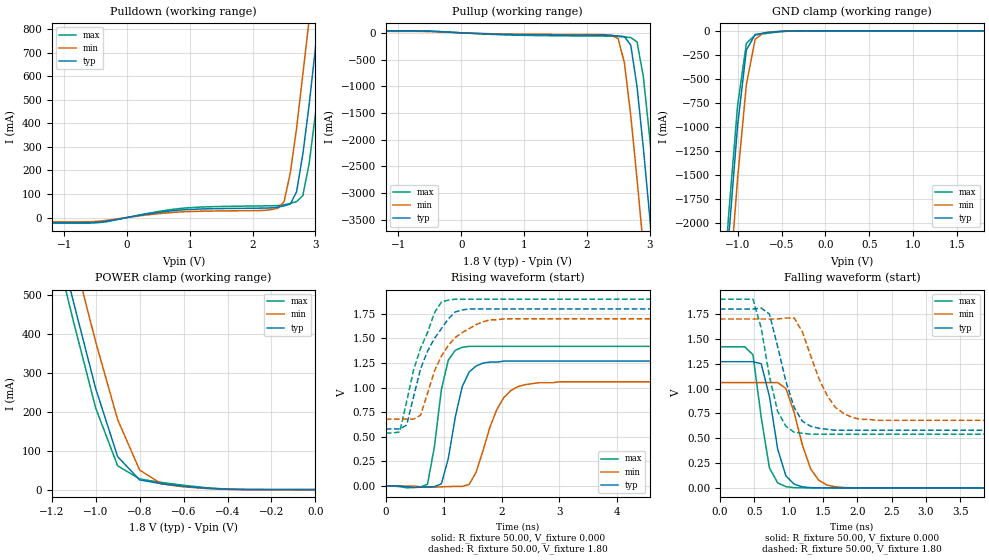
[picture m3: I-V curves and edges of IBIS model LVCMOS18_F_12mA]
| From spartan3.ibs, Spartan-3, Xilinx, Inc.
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|   Model LVCMOS18_F_12mA
[Model]   LVCMOS18_F_12mA
Model_type   I/O
Polarity   Non-Inverting
Enable   Active-Low
Vinl =   0.54V
Vinh =   1.26V
Vmeas =   0.90V
Cref =  0.000F
Rref =   1.00M
Vref =  0.000V
C_comp   6.38pF   4.60pF   8.23pF
[Temperature Range]   25.00   85.00   0.000
[Voltage Range]   1.80V   1.70V   1.90V
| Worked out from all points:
|   slope of the pulldown table from 0 to 0.27 V, typ, clamps not added: 21.7 ohm
|   slope of the pullup table from 0 to 0.27 V, typ, clamps not added: 18.9 ohm
|   GND clamp passes 1 mA (typ) near -0.38 V on its own axis
|   POWER clamp passes 1 mA (typ) near -0.41 V on its own axis
|   rising waveform, R_fixture 50.00, V_fixture 0.000: 20-80 % time 257ps typ, 389ps min, 219ps max; typ from 0 V to 1.27 V
|   rising waveform, R_fixture 50.00, V_fixture 1.80: 20-80 % time 463ps typ, 490ps min, 419ps max; typ from 0.58 V to 1.8 V
|   falling waveform, R_fixture 50.00, V_fixture 0.000: 20-80 % time 215ps typ, 273ps min, 181ps max; typ from 1.27 V to 0 V
|   falling waveform, R_fixture 50.00, V_fixture 1.80: 20-80 % time 283ps typ, 369ps min, 233ps max; typ from 1.8 V to 0.58 V
[Pulldown]
| voltage   I(typ)   I(min)   I(max)
-1.8V     -22.83mA   -18.34mA   -24.39mA
-400mV    -18.63mA   -14.47mA   -20.77mA
2.4V      44.04mA    39.32mA    50.69mA
2.5V      49.28mA    66.84mA    54.13mA
2.6V      57.43mA    190mA      59.96mA
2.7V      110mA      380mA      67.58mA
2.8V      270mA      610mA      93.24mA
2.9V      480mA      840mA      230mA
3V        720mA      1.09A      440mA
3.1V      960mA      1.34A      670mA
3.2V      1.21A      1.59A      920mA
3.6V      2.24A      2.62A      1.93A
[Pullup]
| voltage   I(typ)   I(min)   I(max)
-1.8V     34.17mA    26.39mA    38.56mA
-700mV    34.17mA    26.39mA    38.56mA
2.4V      -50.95mA   -45.9mA    -63.52mA
2.5V      -58.47mA   -110mA     -68.16mA
2.6V      -72.81mA   -570mA     -76.71mA
2.7V      -230mA     -1.55A     -88.92mA
2.8V      -1.01A     -2.74A     -170mA
2.9V      -2.15A     -4.01A     -820mA
3V        -3.42A     -5.33A     -1.94A
3.1V      -4.74A     -6.68A     -3.19A
3.2V      -6.1A      -8.04A     -4.51A
3.6V      -11.65A    -13.6A     -10.02A
[GND_clamp]
| voltage   I(typ)   I(min)   I(max)
-1.8V     -11.64A    -12.2A     -11.42A
-1.2V     -3.41A     -4.01A     -3.17A
-1.1V     -2.14A     -2.73A     -1.9A
-1V       -990mA     -1.54A     -780mA
-900mV    -200mA     -560mA     -130mA
-800mV    -38.28mA   -87.34mA   -44.15mA
-700mV    -22.51mA   -20.43mA   -30.18mA
-500mV    -5.32mA    -4.04mA    -8.92mA
-300mV    -110uA     -120uA     -320uA
1.8V      11.81nA    570nA      13.19nA
[POWER_clamp]
| voltage   I(typ)   I(min)   I(max)
-1.8V     2.23A      2.36A      2.19A
-1.2V     710mA      840mA      660mA
-1.1V     480mA      600mA      430mA
-1V       260mA      380mA      210mA
-900mV    84.79mA    180mA      61.18mA
-800mV    24.88mA    50.29mA    27.26mA
-700mV    15.03mA    14.55mA    18.43mA
-600mV    8.66mA     7.1mA      11.09mA
-400mV    790uA      730uA      1.23mA
0V        11.81nA    57.46nA    17.4nA
[Ramp]
| variable   typ   min   max
dV/dt_r   0.76/0.25n   0.63/0.38n   0.85/0.19n
dV/dt_f   0.73/0.27n   0.61/0.36n   0.82/0.22n
R_load = 50.00
[Rising Waveform]
R_fixture = 50.00
V_fixture = 0.000
| time   V(typ)   V(min)   V(max)
0s        0V         1.25uV     0V
720ps     -8.04mV    -13.05mV   17.96mV
840ps     -5.99mV    -10.83mV   400mV
960ps     22.35mV    -7.75mV    980mV
1.08ns    280mV      -5.48mV    1.28V
1.32ns    1.01V      -3.9mV     1.41V
1.56ns    1.22V      140mV      1.42V
1.92ns    1.26V      780mV      1.42V
2.28ns    1.27V      1.01V      1.42V
6ns       1.27V      1.06V      1.42V
[Rising Waveform]
R_fixture = 50.00
V_fixture = 1.80
V_fixture_min = 1.70
V_fixture_max = 1.90
| time   V(typ)   V(min)   V(max)
0s        580mV      680mV      540mV
240ps     580mV      680mV      550mV
360ps     620mV      680mV      860mV
480ps     910mV      680mV      1.18V
600ps     1.19V      720mV      1.4V
840ps     1.5V       1.17V      1.76V
960ps     1.6V       1.32V      1.87V
1.2ns     1.77V      1.51V      1.9V
1.8ns     1.8V       1.69V      1.9V
6ns       1.8V       1.7V       1.9V
[Falling Waveform]
R_fixture = 50.00
V_fixture = 0.000
| time   V(typ)   V(min)   V(max)
0s        1.27V      1.06V      1.42V
360ps     1.27V      1.06V      1.42V
480ps     1.27V      1.06V      1.34V
600ps     1.25V      1.06V      710mV
720ps     920mV      1.06V      200mV
840ps     390mV      1.06V      50.4mV
960ps     120mV      1V         12.21mV
1.32ns    2.41mV     190mV      67.34uV
1.56ns    130uV      27.73mV    -610nV
6ns       0V         870nV      0V
[Falling Waveform]
R_fixture = 50.00
V_fixture = 1.80
V_fixture_min = 1.70
V_fixture_max = 1.90
| time   V(typ)   V(min)   V(max)
0s        1.8V       1.7V       1.9V
480ps     1.8V       1.7V       1.9V
600ps     1.81V      1.7V       1.61V
720ps     1.75V      1.7V       1.12V
840ps     1.42V      1.7V       770mV
1.08ns    810mV      1.71V      560mV
1.2ns     670mV      1.57V      550mV
1.56ns    590mV      930mV      540mV
1.92ns    580mV      710mV      540mV
6ns       580mV      680mV      540mV
